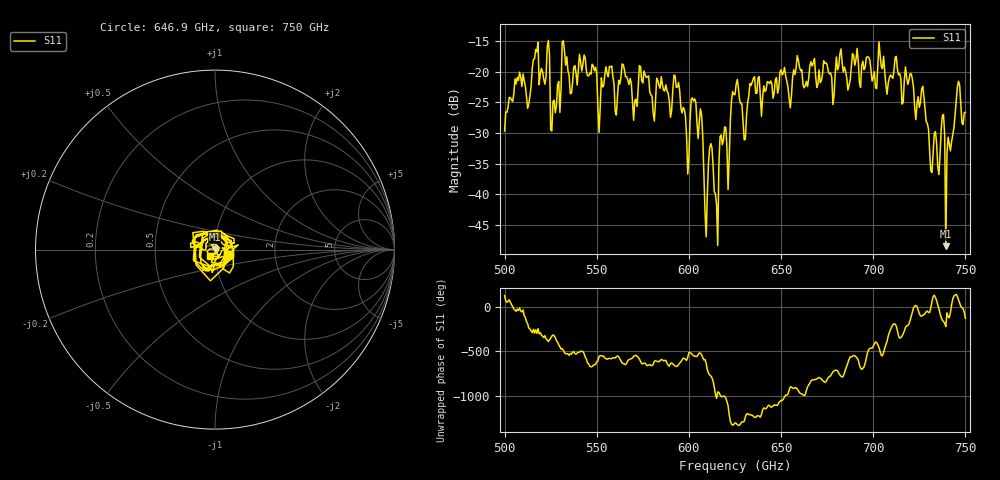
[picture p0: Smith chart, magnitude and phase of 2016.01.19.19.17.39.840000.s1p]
!Created with skrf (http://scikit-rf.org).
# GHz S RI R 50.0
!freq ReS11 ImS11
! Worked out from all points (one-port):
!   401 points, 500 GHz to 750 GHz, reference 50 ohm
!   lowest |S11| = -48.5 dB at 739.4 GHz (marker M1), VSWR 1.01, Z = 49.7 + j0.253 ohm
!   |S11| at or under -10 dB: start of sweep to end of sweep
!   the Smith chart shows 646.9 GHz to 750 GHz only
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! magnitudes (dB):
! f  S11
! 500 GHz  -29.7
! 506.9 GHz  -20.9
! 513.1 GHz  -25.2
! 516.9 GHz  -16.4
! 523.1 GHz  -15.9
! 526.2 GHz  -24.8
! 531.2 GHz  -15.1
! 551.9 GHz  -25.8
! 562.5 GHz  -22.0
! 593.8 GHz  -22.5
! 599.4 GHz  -36.7
! 602.5 GHz  -24.8
! 606.9 GHz  -27.0
! 608.8 GHz  -43.0
! 611.9 GHz  -31.7
! 614.4 GHz  -39.9
! 625 GHz  -23.7
! 630 GHz  -31.1
! 634.4 GHz  -21.6
! 656.2 GHz  -20.9
! 687.5 GHz  -21.4
! 718.8 GHz  -22.1
! 727.5 GHz  -24.1
! 731.2 GHz  -36.2
! 737.5 GHz  -27.2
! 739.4 GHz  -48.5
! 745.6 GHz  -22.5
! 750 GHz  -26.6
